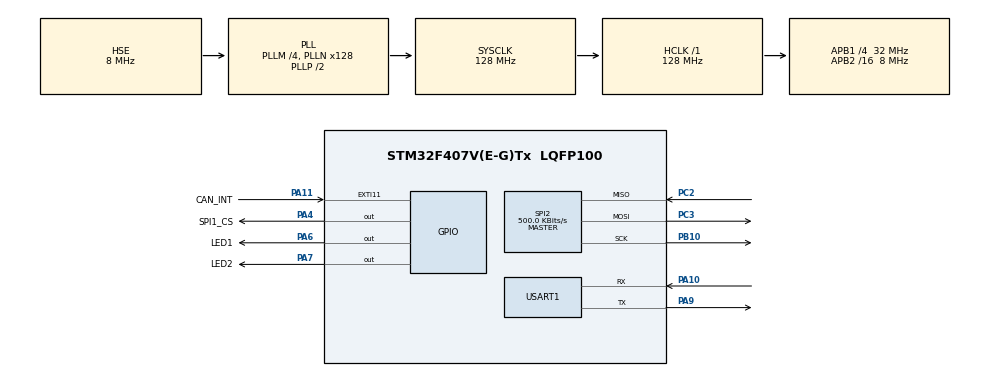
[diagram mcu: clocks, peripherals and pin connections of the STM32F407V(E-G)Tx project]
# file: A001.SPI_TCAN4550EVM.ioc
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Mcu.Family=STM32F4
Mcu.Name=STM32F407V(E-G)Tx
Mcu.Package=LQFP100
NVIC.EXTI15_10_IRQn=true\:0\:0\:false\:false\:true\:true\:true
NVIC.PriorityGroup=NVIC_PRIORITYGROUP_4
PA10.Mode=Asynchronous
PA10.Signal=USART1_RX
PA11.GPIO_Label=CAN_INT
PA11.GPIO_ModeDefaultEXTI=GPIO_MODE_IT_RISING_FALLING
PA11.Signal=GPXTI11
PA13.Mode=Serial_Wire
PA13.Signal=SYS_JTMS-SWDIO
PA14.Mode=Serial_Wire
PA14.Signal=SYS_JTCK-SWCLK
PA4.GPIO_Label=SPI1_CS
PA4.Signal=GPIO_Output
PA6.GPIO_Label=LED1
PA6.PinState=GPIO_PIN_SET
PA6.Signal=GPIO_Output
PA7.GPIO_Label=LED2
PA7.PinState=GPIO_PIN_SET
PA7.Signal=GPIO_Output
PA9.Mode=Asynchronous
PA9.Signal=USART1_TX
PB10.Mode=Full_Duplex_Master
PB10.Signal=SPI2_SCK
PC2.Mode=Full_Duplex_Master
PC2.Signal=SPI2_MISO
PC3.Mode=Full_Duplex_Master
PC3.Signal=SPI2_MOSI
PH0-OSC_IN.Mode=HSE-External-Oscillator
PH0-OSC_IN.Signal=RCC_OSC_IN
PH1-OSC_OUT.Mode=HSE-External-Oscillator
PH1-OSC_OUT.Signal=RCC_OSC_OUT
ProjectManager.HeapSize=0x200
ProjectManager.StackSize=0x400
ProjectManager.TargetToolchain=MDK-ARM V5
RCC.48MHZClocksFreq_Value=64000000
RCC.AHBFreq_Value=128000000
RCC.APB1CLKDivider=RCC_HCLK_DIV4
RCC.APB1Freq_Value=32000000
RCC.APB1TimFreq_Value=64000000
RCC.APB2CLKDivider=RCC_HCLK_DIV16
RCC.APB2Freq_Value=8000000
RCC.APB2TimFreq_Value=16000000
RCC.CortexFreq_Value=128000000
RCC.HCLKFreq_Value=128000000
RCC.HSE_VALUE=8000000
RCC.HSI_VALUE=16000000
RCC.LSE_VALUE=32768
RCC.PLLM=4
RCC.PLLN=128
RCC.PLLSourceVirtual=RCC_PLLSOURCE_HSE
RCC.SYSCLKFreq_VALUE=128000000
RCC.SYSCLKSource=RCC_SYSCLKSOURCE_PLLCLK
RCC.VCOOutputFreq_Value=256000000
SPI2.BaudRatePrescaler=SPI_BAUDRATEPRESCALER_64
SPI2.CalculateBaudRate=500.0 KBits/s
SPI2.Direction=SPI_DIRECTION_2LINES
SPI2.Mode=SPI_MODE_MASTER
SPI2.VirtualType=VM_MASTER
USART1.VirtualMode=VM_ASYNC
board=custom

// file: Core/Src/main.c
/* USER CODE BEGIN Header */
/**
  ******************************************************************************
  * @file           : main.c
  * @brief          : Main program body
  ******************************************************************************
  * @attention
  *
  * <h2><center>&copy; Copyright (c) 2023 STMicroelectronics.
  * All rights reserved.</center></h2>
  *
  * This software component is licensed by ST under BSD 3-Clause license,
  * the "License"; You may not use this file except in compliance with the
  * License. You may obtain a copy of the License at:
  *                        opensource.org/licenses/BSD-3-Clause
  *
  ******************************************************************************
  */
/* USER CODE END Header */
#include "main.h"
#include "spi.h"
#include "usart.h"
#include "gpio.h"

/* USER CODE BEGIN Includes */
#include "TCAN4550.h"
/* USER CODE END Includes */

/* USER CODE BEGIN PM */

/*
 * Configure the TCAN4550
 */ int r=0;
void
Init_CAN(void)
{
    TCAN4x5x_Device_ClearSPIERR();                              // Clear any SPI ERR flags that might be set as a result of our pin mux changing during MCU startup

    /* Step one attempt to clear all interrupts */
	TCAN4x5x_Device_Interrupt_Enable dev_ie = {0};				// Initialize to 0 to all bits are set to 0.
	r=TCAN4x5x_Device_ConfigureInterruptEnable(&dev_ie);	        // Disable all non-MCAN related interrupts for simplicity
    printf("[2-%d]", r);
	TCAN4x5x_Device_Interrupts dev_ir = {0};					// Setup a new MCAN IR object for easy interrupt checking
	TCAN4x5x_Device_ReadInterrupts(&dev_ir);					// Request that the struct be updated with current DEVICE (not MCAN) interrupt values

	if (dev_ir.PWRON)                                           // If the Power On interrupt flag is set
		TCAN4x5x_Device_ClearInterrupts(&dev_ir);               // Clear it because if it's not cleared within ~4 minutes, it goes to sleep

	/* Configure the CAN bus speeds */
	TCAN4x5x_MCAN_Nominal_Timing_Simple TCANNomTiming = {0};	// 500k arbitration with a 40 MHz crystal ((40E6 / 2) / (32 + 8) = 500E3)
	TCANNomTiming.NominalBitRatePrescaler = 2;
	TCANNomTiming.NominalTqBeforeSamplePoint = 32;
	TCANNomTiming.NominalTqAfterSamplePoint = 8;

	TCAN4x5x_MCAN_Data_Timing_Simple TCANDataTiming = {0};		// 2 Mbps CAN FD with a 40 MHz crystal (40E6 / (15 + 5) = 2E6)
	TCANDataTiming.DataBitRatePrescaler = 2;
	TCANDataTiming.DataTqBeforeSamplePoint = 32;
	TCANDataTiming.DataTqAfterSamplePoint = 8;

	/* Configure the MCAN core settings */
	TCAN4x5x_MCAN_CCCR_Config cccrConfig = {0};					// Remember to initialize to 0, or you'll get random garbage!
	cccrConfig.FDOE = 1;										// CAN FD mode enable
	cccrConfig.BRSE = 1;										// CAN FD Bit rate switch enable

	/* Configure the default CAN packet filtering settings */
	TCAN4x5x_MCAN_Global_Filter_Configuration gfc = {0};
	gfc.RRFE = 1;                                               // Reject remote frames (TCAN4x5x doesn't support this)
	gfc.RRFS = 1;                                               // Reject remote frames (TCAN4x5x doesn't support this)
	gfc.ANFE = TCAN4x5x_GFC_ACCEPT_INTO_RXFIFO0;                // Default behavior if incoming message doesn't match a filter is to accept into RXFIO0 for extended ID messages (29 bit IDs)
	gfc.ANFS = TCAN4x5x_GFC_ACCEPT_INTO_RXFIFO0;                // Default behavior if incoming message doesn't match a filter is to accept into RXFIO0 for standard ID messages (11 bit IDs)

	/* ************************************************************************
	 * In the next configuration block, we will set the MCAN core up to have:
	 *   - 1 SID filter element
	 *   - 1 XID Filter element
	 *   - 5 RX FIFO 0 elements
	 *   - RX FIFO 0 supports data payloads up to 64 bytes
	 *   - RX FIFO 1 and RX Buffer will not have any elements, but we still set their data payload sizes, even though it's not required
	 *   - No TX Event FIFOs
	 *   - 2 Transmit buffers supporting up to 64 bytes of data payload
	 */
	TCAN4x5x_MRAM_Config MRAMConfiguration = {0};

	MRAMConfiguration.SIDNumElements = 1;						// Standard ID number of elements, you MUST have a filter written to MRAM for each element defined
	MRAMConfiguration.XIDNumElements = 1;						// Extended ID number of elements, you MUST have a filter written to MRAM for each element defined
	MRAMConfiguration.Rx0NumElements = 5;						// RX0 Number of elements
	MRAMConfiguration.Rx0ElementSize = MRAM_64_Byte_Data;		// RX0 data payload size
	MRAMConfiguration.Rx1NumElements = 0;						// RX1 number of elements
	MRAMConfiguration.Rx1ElementSize = MRAM_64_Byte_Data;		// RX1 data payload size
	MRAMConfiguration.RxBufNumElements = 0;						// RX buffer number of elements
	MRAMConfiguration.RxBufElementSize = MRAM_64_Byte_Data;		// RX buffer data payload size
	MRAMConfiguration.TxEventFIFONumElements = 0;				// TX Event FIFO number of elements
	MRAMConfiguration.TxBufferNumElements = 2;					// TX buffer number of elements
	MRAMConfiguration.TxBufferElementSize = MRAM_64_Byte_Data;	// TX buffer data payload size

	/* Configure the MCAN core with the settings above, the changes in this block are write protected registers,      *
	 * so it makes the most sense to do them all at once, so we only unlock and lock once                             */

	r=TCAN4x5x_MCAN_EnableProtectedRegisters();					// Start by making protected registers accessible
	printf("[5-%d]", r);
    r=TCAN4x5x_MCAN_ConfigureCCCRRegister(&cccrConfig);			// Enable FD mode and Bit rate switching
    printf("[6-%d]", r);
	r=TCAN4x5x_MCAN_ConfigureGlobalFilter(&gfc);                  // Configure the global filter configuration (Default CAN message behavior)
	printf("[7-%d]", r);
    r=TCAN4x5x_MCAN_ConfigureNominalTiming_Simple(&TCANNomTiming);// Setup nominal/arbitration bit timing
	printf("[8-%d]", r);
    r=TCAN4x5x_MCAN_ConfigureDataTiming_Simple(&TCANDataTiming);	// Setup CAN FD timing
	printf("[9-%d]", r);
    TCAN4x5x_MRAM_Clear();										// Clear all of MRAM (Writes 0's to all of it)

    r=TCAN4x5x_MRAM_Configure(&MRAMConfiguration);				// Set up the applicable registers related to MRAM configuration
    printf("[10-%d]", r);
	r=TCAN4x5x_MCAN_DisableProtectedRegisters();					// Disable protected write and take device out of INIT mode
    printf("[11-%d]", r);

	/* Set the interrupts we want to enable for MCAN */
	TCAN4x5x_MCAN_Interrupt_Enable mcan_ie = {0};				// Remember to initialize to 0, or you'll get random garbage!
	mcan_ie.RF0NE = 1;											// RX FIFO 0 new message interrupt enable

	TCAN4x5x_MCAN_ConfigureInterruptEnable(&mcan_ie);			// Enable the appropriate registers

	/* Setup filters, this filter will mark any message with ID 0x055 as a priority message */
	TCAN4x5x_MCAN_SID_Filter SID_ID = {0};
	SID_ID.SFT = TCAN4x5x_SID_SFT_CLASSIC;						// SFT: Standard filter type. Configured as a classic filter
	SID_ID.SFEC = TCAN4x5x_SID_SFEC_PRIORITYSTORERX0;			// Standard filter element configuration, store it in RX fifo 0 as a priority message
	SID_ID.SFID1 = 0x055;										// SFID1 (Classic mode Filter)
	SID_ID.SFID2 = 0x7FF;										// SFID2 (Classic mode Mask)
	TCAN4x5x_MCAN_WriteSIDFilter(0, &SID_ID);					// Write to the MRAM

	/* Store ID 0x12345678 as a priority message */
	TCAN4x5x_MCAN_XID_Filter XID_ID = {0};
	XID_ID.EFT = TCAN4x5x_XID_EFT_CLASSIC;                      // EFT
	XID_ID.EFEC = TCAN4x5x_XID_EFEC_PRIORITYSTORERX0;           // EFEC
	XID_ID.EFID1 = 0x12345678;                                  // EFID1 (Classic mode filter)
	XID_ID.EFID2 = 0x1FFFFFFF;                                  // EFID2 (Classic mode mask)
	TCAN4x5x_MCAN_WriteXIDFilter(0, &XID_ID);                   // Write to the MRAM

	/* Configure the TCAN4550 Non-CAN-related functions */
	TCAN4x5x_DEV_CONFIG devConfig = {0};                        // Remember to initialize to 0, or you'll get random garbage!
	devConfig.SWE_DIS = 0;                                      // Keep Sleep Wake Error Enabled (it's a disable bit, not an enable)
	devConfig.DEVICE_RESET = 0;                                 // Not requesting a software reset
	devConfig.WD_EN = 0;                                        // Watchdog disabled
	devConfig.nWKRQ_CONFIG = 0;                                 // Mirror INH function (default)
	devConfig.INH_DIS = 0;                                      // INH enabled (default)
	devConfig.GPIO1_GPO_CONFIG = TCAN4x5x_DEV_CONFIG_GPO1_MCAN_INT1;    // MCAN nINT 1 (default)
	devConfig.FAIL_SAFE_EN = 0;                                 // Failsafe disabled (default)
	devConfig.GPIO1_CONFIG = TCAN4x5x_DEV_CONFIG_GPIO1_CONFIG_GPO;      // GPIO set as GPO (Default)
	devConfig.WD_ACTION = TCAN4x5x_DEV_CONFIG_WDT_ACTION_nINT;  // Watchdog set an interrupt (default)
	devConfig.WD_BIT_RESET = 0;                                 // Don't reset the watchdog
	devConfig.nWKRQ_VOLTAGE = 0;                                // Set nWKRQ to internal voltage rail (default)
	devConfig.GPO2_CONFIG = TCAN4x5x_DEV_CONFIG_GPO2_MCAN_INT0; // GPO2 中断开启，中断中处理接收数据
	devConfig.CLK_REF = 1;                                      // Input crystal is a 40 MHz crystal (default)
	devConfig.WAKE_CONFIG = TCAN4x5x_DEV_CONFIG_WAKE_BOTH_EDGES;// Wake pin can be triggered by either edge (default)
	TCAN4x5x_Device_Configure(&devConfig);                      // Configure the device with the above configuration

	TCAN4x5x_Device_SetMode(TCAN4x5x_DEVICE_MODE_NORMAL);       // Set to normal mode, since configuration is done. This line turns on the transceiver

	TCAN4x5x_MCAN_ClearInterruptsAll();                         // Resets all MCAN interrupts (does NOT include any SPIERR interrupts)
}

volatile uint8_t TCAN_Int_Cnt = 0;					// A variable used to keep track of interrupts the MCAN Interrupt pin

void HAL_GPIO_EXTI_Callback(uint16_t GPIO_Pin)
{
  switch(GPIO_Pin){
      case CAN_INT_Pin:

        TCAN_Int_Cnt++;
        break;
  }
}

/* USER CODE END PM */

void SystemClock_Config(void);

int main(void)
{
  /* USER CODE BEGIN 1 */
  int i,j;
  /* USER CODE END 1 */

  /* MCU Configuration--------------------------------------------------------*/

  /* Reset of all peripherals, Initializes the Flash interface and the Systick. */
  HAL_Init();

  /* Configure the system clock */
  SystemClock_Config();

  /* Initialize all configured peripherals */
  MX_GPIO_Init();
  MX_USART1_UART_Init();
  MX_SPI2_Init();
  /* USER CODE BEGIN 2 */

    HAL_GPIO_WritePin(LED1_GPIO_Port, LED1_Pin, GPIO_PIN_RESET);
  HAL_GPIO_WritePin(LED2_GPIO_Port, LED2_Pin, GPIO_PIN_RESET);

    // can 初始化
    Init_CAN();
    printf("can init.");

    // 发送两帧数据，一个是普通CAN，一个是CANFD
    TCAN4x5x_MCAN_TX_Header header = {0};			// Remember to initialize to 0, or you'll get random garbage!
	uint8_t data[4] = {0x55, 0x66, 0x77, 0x88};		// Define the data payload
	header.DLC = MCAN_DLC_4B;						// Set the DLC to be equal to or less than the data payload (it is ok to pass a 64 byte data array into the WriteTXFIFO function if your DLC is 8 bytes, only the first 8 bytes will be read)
	header.ID = 0x144;								// Set the ID
	header.FDF = 1;									// CAN FD frame enabled
	header.BRS = 1;									// Bit rate switch enabled
	header.EFC = 0;
	header.MM  = 0;
	header.RTR = 0;
	header.XTD = 0;									// We are not using an extended ID in this example
	header.ESI = 0;									// Error state indicator

	TCAN4x5x_MCAN_WriteTXBuffer(0, &header, data);	// This function actually writes the header and data payload to the TCAN's MRAM in the specified TX queue number. It returns the bit necessary to write to TXBAR,
													// but does not necessarily require you to use it. In this example, we won't, so that we can send the data queued up at a later point.

    data[0] = 0x11;
	data[1] = 0x22;
	data[2] = 0x33;
	data[3] = 0x44;									// Define the data payload

	header.DLC = MCAN_DLC_4B;						// Set the DLC to be equal to or less than the data payload (it is ok to pass a 64 byte data array into the WriteTXFIFO function if your DLC is 8 bytes, only the first 8 bytes will be read)
	header.ID = 0x123;								// Set the ID
	header.FDF = 0;									// CAN FD frame enabled
	header.BRS = 1;									// Bit rate switch enabled
	header.EFC = 0;
	header.MM  = 0;
	header.RTR = 0;
	header.XTD = 0;									// We are not using an extended ID in this example
	header.ESI = 0;									// Error state indicator

	TCAN4x5x_MCAN_WriteTXBuffer(1, &header, data);	// This line writes the data and header to TX FIFO 1
	TCAN4x5x_MCAN_TransmitBufferContents(1);		// Request that TX Buffer 1 be transmitted

	r=TCAN4x5x_MCAN_TransmitBufferContents(0);		// Now we can send the TX FIFO element 0 data that we had queued up earlier but didn't send.
    printf("[%d.]",r);
  /* USER CODE END 2 */

  /* Infinite loop */
  while (1)
  {

    /* USER CODE BEGIN 3 */
    //HAL_Delay(500);
    //HAL_GPIO_TogglePin(LED1_GPIO_Port, LED1_Pin);

      // 接收数据
      if (TCAN_Int_Cnt > 0 )
		{
			TCAN_Int_Cnt--;
			TCAN4x5x_Device_Interrupts dev_ir = {0};            // Define a new Device IR object for device (non-CAN) interrupt checking
			TCAN4x5x_MCAN_Interrupts mcan_ir = {0};				// Setup a new MCAN IR object for easy interrupt checking
			TCAN4x5x_Device_ReadInterrupts(&dev_ir);            // Read the device interrupt register
			TCAN4x5x_MCAN_ReadInterrupts(&mcan_ir);		        // Read the interrupt register

			if (dev_ir.SPIERR)                                  // If the SPIERR flag is set
			    TCAN4x5x_Device_ClearSPIERR();                  // Clear the SPIERR flag

			if (mcan_ir.RF0N)									// If a new message in RX FIFO 0
			{
				TCAN4x5x_MCAN_RX_Header MsgHeader = {0};		// Initialize to 0 or you'll get garbage
				uint8_t numBytes = 0;                           // Used since the ReadNextFIFO function will return how many bytes of data were read
				uint8_t dataPayload[64] = {0};                  // Used to store the received data

				TCAN4x5x_MCAN_ClearInterrupts(&mcan_ir);	    // Clear any of the interrupt bits that are set.

				numBytes = TCAN4x5x_MCAN_ReadNextFIFO( RXFIFO0, &MsgHeader, dataPayload);	// This will read the next element in the RX FIFO 0

				// numBytes will have the number of bytes it transfered in it. Or you can decode the DLC value in MsgHeader.DLC
				// The data is now in dataPayload[], and message specific information is in the MsgHeader struct.

				if (MsgHeader.ID >0)		// Example of how you can do an action based off a received address
				{
                    printf("r...0x%x, len=%d\n", MsgHeader.ID, numBytes);
                    if(numBytes>0){
                        for(i=0; i<numBytes; i++){
                            printf("%02x ", dataPayload[i]);
                        }
                        printf("\n");
                    }
				}
			}
		}

  }
  /* USER CODE END 3 */
}

void SystemClock_Config(void)
{
  RCC_OscInitTypeDef RCC_OscInitStruct = {0};
  RCC_ClkInitTypeDef RCC_ClkInitStruct = {0};

  /** Configure the main internal regulator output voltage
  */
  __HAL_RCC_PWR_CLK_ENABLE();
  __HAL_PWR_VOLTAGESCALING_CONFIG(PWR_REGULATOR_VOLTAGE_SCALE1);
  /** Initializes the RCC Oscillators according to the specified parameters
  * in the RCC_OscInitTypeDef structure.
  */
  RCC_OscInitStruct.OscillatorType = RCC_OSCILLATORTYPE_HSE;
  RCC_OscInitStruct.HSEState = RCC_HSE_ON;
  RCC_OscInitStruct.PLL.PLLState = RCC_PLL_ON;
  RCC_OscInitStruct.PLL.PLLSource = RCC_PLLSOURCE_HSE;
  RCC_OscInitStruct.PLL.PLLM = 4;
  RCC_OscInitStruct.PLL.PLLN = 128;
  RCC_OscInitStruct.PLL.PLLP = RCC_PLLP_DIV2;
  RCC_OscInitStruct.PLL.PLLQ = 4;
  if (HAL_RCC_OscConfig(&RCC_OscInitStruct) != HAL_OK)
  {
    Error_Handler();
  }
  /** Initializes the CPU, AHB and APB buses clocks
  */
  RCC_ClkInitStruct.ClockType = RCC_CLOCKTYPE_HCLK|RCC_CLOCKTYPE_SYSCLK
                              |RCC_CLOCKTYPE_PCLK1|RCC_CLOCKTYPE_PCLK2;
  RCC_ClkInitStruct.SYSCLKSource = RCC_SYSCLKSOURCE_PLLCLK;
  RCC_ClkInitStruct.AHBCLKDivider = RCC_SYSCLK_DIV1;
  RCC_ClkInitStruct.APB1CLKDivider = RCC_HCLK_DIV4;
  RCC_ClkInitStruct.APB2CLKDivider = RCC_HCLK_DIV16;

  if (HAL_RCC_ClockConfig(&RCC_ClkInitStruct, FLASH_LATENCY_4) != HAL_OK)
  {
    Error_Handler();
  }
}

void Error_Handler(void)
{
  __disable_irq();
  while (1)
  {
  }
}

/************************ (C) COPYRIGHT STMicroelectronics *****END OF FILE****/
